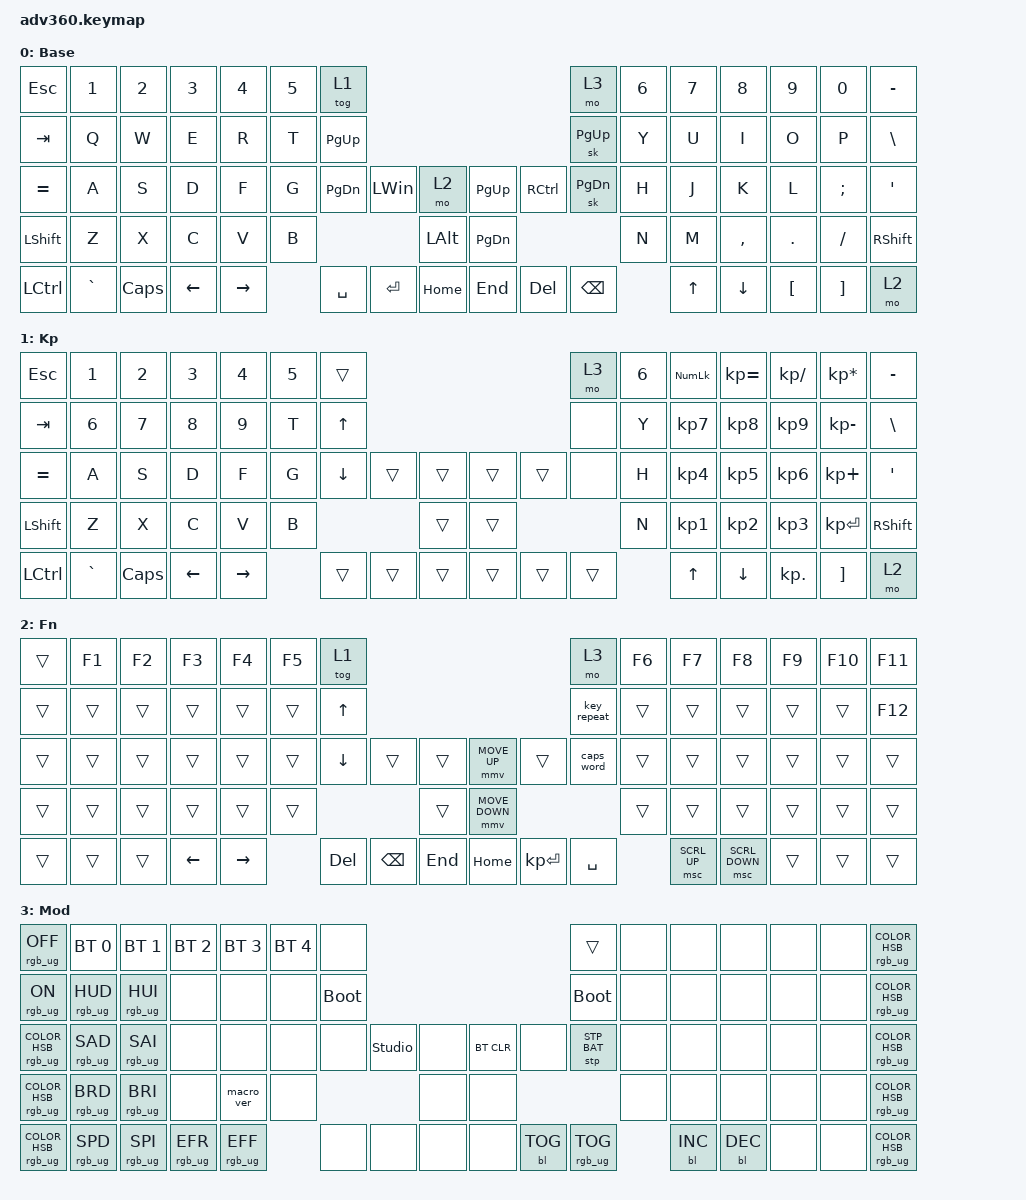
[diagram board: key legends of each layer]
#include <dt-bindings/zmk/stp.h>
#include <behaviors.dtsi>
#include <dt-bindings/zmk/backlight.h>
#include <dt-bindings/zmk/bt.h>
#include <dt-bindings/zmk/keys.h>
#include <dt-bindings/zmk/pointing.h>
#include <dt-bindings/zmk/rgb.h>

/ {
    behaviors {
        #include "macros.dtsi"
      #include "version.dtsi"

        hm: homerow_mods {
            compatible = "zmk,behavior-hold-tap";
            label = "HOMEROW_MODS";
            #binding-cells = <2>;
            tapping-term-ms = <200>;
            quick_tap_ms = <175>;
            flavor = "tap-preferred";
            bindings = <&kp>, <&kp>;
        };
    };

    keymap {
        compatible = "zmk,keymap";

        default_layer {
            display-name = "Base";
            bindings = <
&kp ESCAPE  &kp N1     &kp N2    &kp N3    &kp N4     &kp N5  &tog 1                                                                &mo 3          &kp N6  &kp N7  &kp N8     &kp N9    &kp N0    &kp MINUS
&kp TAB     &kp Q      &kp W     &kp E     &kp R      &kp T   &kp PG_UP                                                             &sk PG_UP      &kp Y   &kp U   &kp I      &kp O     &kp P     &kp BSLH
&kp EQUAL   &kp A      &kp S     &kp D     &kp F      &kp G   &kp PG_DN  &kp LEFT_WIN  &mo 2             &kp PAGE_UP    &kp RCTRL   &sk PAGE_DOWN  &kp H   &kp J   &kp K      &kp L     &kp SEMI  &kp SQT
&kp LSHFT   &kp Z      &kp X     &kp C     &kp V      &kp B                            &kp LEFT_ALT      &kp PAGE_DOWN                             &kp N   &kp M   &kp COMMA  &kp DOT   &kp FSLH  &kp RSHFT
&kp LCTRL   &kp GRAVE  &kp CAPS  &kp LEFT  &kp RIGHT          &kp SPACE  &kp ENTER     &kp HOME          &kp END        &kp DELETE  &kp BACKSPACE          &kp UP  &kp DOWN   &kp LBKT  &kp RBKT  &mo 2
            >;
        };

        keypad {
            display-name = "Kp";
            bindings = <
&kp ESCAPE  &kp N1        &kp N2        &kp N3        &kp N4        &kp N5  &trans                                              &mo 3   &kp N6  &kp KP_NUM  &kp KP_EQUAL  &kp KP_DIVIDE  &kp KP_MULTIPLY  &kp MINUS
&kp TAB     &kp NUMBER_6  &kp NUMBER_7  &kp NUMBER_8  &kp NUMBER_9  &kp T   &kp UP_ARROW                                        &none   &kp Y   &kp KP_N7   &kp KP_N8     &kp KP_N9      &kp KP_MINUS     &kp BSLH
&kp EQUAL   &kp A         &kp S         &kp D         &kp F         &kp G   &kp DOWN_ARROW  &trans  &trans      &trans  &trans  &none   &kp H   &kp KP_N4   &kp KP_N5     &kp KP_N6      &kp KP_PLUS      &kp SQT
&kp LSHFT   &kp Z         &kp X         &kp C         &kp V         &kp B                           &trans      &trans                  &kp N   &kp KP_N1   &kp KP_N2     &kp KP_N3      &kp KP_ENTER     &kp RSHFT
&kp LCTRL   &kp GRAVE     &kp CAPS      &kp LEFT      &kp RIGHT             &trans          &trans  &trans      &trans  &trans  &trans          &kp UP      &kp DOWN      &kp KP_DOT     &kp RBKT         &mo 2
            >;
        };

        fn {
            display-name = "Fn";
            bindings = <
&trans  &kp F1  &kp F2  &kp F3          &kp F4     &kp F5  &tog 1                                                                    &mo 3        &kp F6  &kp F7        &kp F8          &kp F9  &kp F10  &kp F11
&trans  &trans  &trans  &trans          &trans     &trans  &kp UP_ARROW                                                              &key_repeat  &trans  &trans        &trans          &trans  &trans   &kp F12
&trans  &trans  &trans  &trans          &trans     &trans  &kp DOWN_ARROW  &trans         &trans       &mmv MOVE_UP    &trans        &caps_word   &trans  &trans        &trans          &trans  &trans   &trans
&trans  &trans  &trans  &trans          &trans     &trans                                 &trans       &mmv MOVE_DOWN                             &trans  &trans        &trans          &trans  &trans   &trans
&trans  &trans  &trans  &kp LEFT_ARROW  &kp RIGHT          &kp DELETE      &kp BACKSPACE  &kp END      &kp HOME        &kp KP_ENTER  &kp SPACE            &msc SCRL_UP  &msc SCRL_DOWN  &trans  &trans   &trans
            >;
        };

        mod {
            display-name = "Mod";
            bindings = <
&rgb_ug RGB_OFF                   &bt BT_SEL 0     &bt BT_SEL 1     &bt BT_SEL 2     &bt BT_SEL 3     &bt BT_SEL 4  &none                                                           &trans           &none  &none       &none       &none  &none  &rgb_ug RGB_COLOR_HSB(110,99,51)
&rgb_ug RGB_ON                    &rgb_ug RGB_HUD  &rgb_ug RGB_HUI  &none            &none            &none         &bootloader                                                     &bootloader      &none  &none       &none       &none  &none  &rgb_ug RGB_COLOR_HSB(241,100,52)
&rgb_ug RGB_COLOR_HSB(175,73,50)  &rgb_ug RGB_SAD  &rgb_ug RGB_SAI  &none            &none            &none         &none        &studio_unlock  &none      &bt BT_CLR  &none       &stp STP_BAT     &none  &none       &none       &none  &none  &rgb_ug RGB_COLOR_HSB(300,100,52)
&rgb_ug RGB_COLOR_HSB(51,100,58)  &rgb_ug RGB_BRD  &rgb_ug RGB_BRI  &none            &macro_ver       &none                                      &none      &none                                    &none  &none       &none       &none  &none  &rgb_ug RGB_COLOR_HSB(204,100,75)
&rgb_ug RGB_COLOR_HSB(0,93,51)    &rgb_ug RGB_SPD  &rgb_ug RGB_SPI  &rgb_ug RGB_EFR  &rgb_ug RGB_EFF                &none        &none           &none      &none       &bl BL_TOG  &rgb_ug RGB_TOG         &bl BL_INC  &bl BL_DEC  &none  &none  &rgb_ug RGB_COLOR_HSB(67,79,29)
            >;
        };

        extra1 {
            display-name = "Red";
            status = "reserved";
        };

        extra2 {
            display-name = "Purple";
            status = "reserved";
        };

        extra3 {
            display-name = "Cyan";
            status = "reserved";
        };

        extra4 {
            display-name = "Yellow";
            status = "reserved";
        };
    };
};
